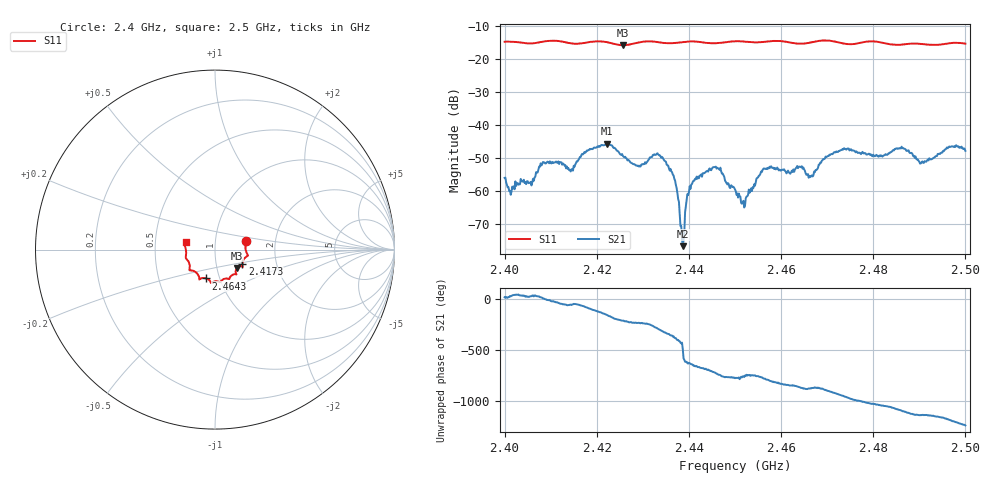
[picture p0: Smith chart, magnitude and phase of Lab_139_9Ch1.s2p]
# Hz S RI R 50
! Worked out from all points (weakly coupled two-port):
!   601 points, 2.4 GHz to 2.5 GHz, reference 50 ohm
!   highest |S21| = -45.63 dB at 2.4222 GHz (marker M1); lowest = -76.6 dB at 2.4387 GHz (marker M2)
!   lowest |S11| = -15.9 dB at 2.4257 GHz (marker M3), VSWR 1.38, Z = 62.4 - j13.1 ohm
!   |S11| at or under -10 dB: start of sweep to end of sweep
!   S12 and S22 are empty: the file has one direction only
!   S11 on the Smith chart (normalised r, x): 2.4 GHz: 1.41, +0.14; 2.4173 GHz: 1.34, -0.23; 2.4643 GHz: 0.86, -0.28; 2.5 GHz: 0.72, +0.06
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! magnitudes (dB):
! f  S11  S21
! 2.4 GHz  -14.9  -56.0
! 2.4017 GHz  -14.9  -58.6
! 2.4083 GHz  -14.8  -51.2
! 2.4143 GHz  -15.4  -54.1
! 2.4167 GHz  -15.4  -49.1
! 2.4173 GHz  -15.2  -48.2
! 2.4222 GHz  -15.0  -45.6
! 2.4257 GHz  -15.9  -49.4
! 2.4333 GHz  -15.0  -48.9
! 2.4367 GHz  -15.3  -55.3
! 2.4387 GHz  -15.0  -76.6
! 2.4398 GHz  -14.8  -61.2
! 2.4415 GHz  -14.8  -56.4
! 2.4458 GHz  -15.3  -52.6
! 2.45 GHz  -14.7  -59.5
! 2.4518 GHz  -14.8  -62.9
! 2.4562 GHz  -14.9  -53.2
! 2.4643 GHz  -15.5  -52.8
! 2.4667 GHz  -15.0  -55.2
! 2.4733 GHz  -15.4  -47.3
! 2.4833 GHz  -15.6  -48.5
! 2.5 GHz  -15.5  -47.8
